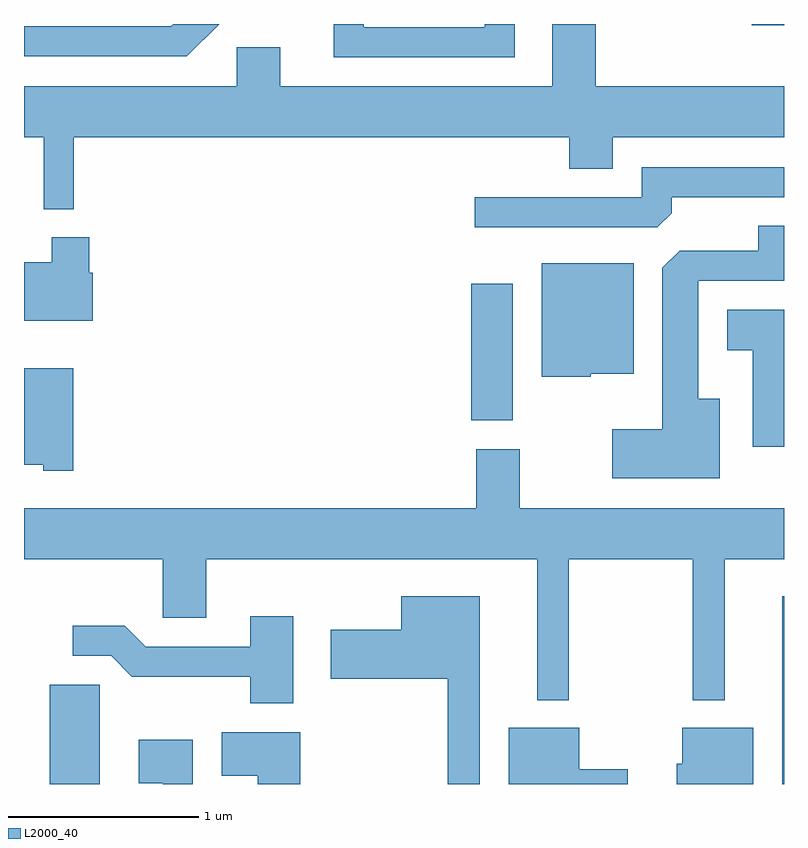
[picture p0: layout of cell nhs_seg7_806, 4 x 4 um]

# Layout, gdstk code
import gdstk
lib = gdstk.Library(unit=1e-6, precision=1e-09)
def R(c, l, rs):  # rectangles x0, y0, x1, y1
    for r in rs: c.add(gdstk.rectangle(r[:2], r[2:], *l))
def P(c, l, *ps):  # polygons
    for p in ps: c.add(gdstk.Polygon(p, *l))
L2000_40 = (2000, 40)

nhs_seg7_806 = lib.new_cell('nhs_seg7_806')
R(nhs_seg7_806, L2000_40, [(209.746,1704.252,210.009,1704.774), (213.601,1704.252,213.611,1705.239), (211.966,1706.166,212.184,1706.884), (213.441,1708.246,213.611,1708.252)])
P(nhs_seg7_806, L2000_40, [(209.874,1707.656),(212.481,1707.656),(212.481,1707.491),(212.709,1707.491),(212.709,1707.656),(213.611,1707.656),(213.611,1707.924),(212.619,1707.924),(212.619,1708.252),(212.391,1708.252),(212.391,1707.924),(210.959,1707.924),(210.959,1708.129),(210.731,1708.129),(210.731,1707.924),(209.611,1707.924),(209.611,1707.656),(209.716,1707.656),(209.716,1707.278),(209.874,1707.278)],
  [(210.638,1708.252),(210.397,1708.252),(210.384,1708.239),(209.611,1708.239),(209.611,1708.081),(210.467,1708.081)],
  [(212.194,1708.252),(212.036,1708.252),(212.036,1708.234),(211.399,1708.234),(211.399,1708.252),(211.241,1708.252),(211.241,1708.076),(212.194,1708.076)],
  [(213.019,1707.257),(213.019,1707.341),(213.611,1707.341),(213.611,1707.499),(212.861,1707.499),(212.861,1707.339),(211.983,1707.339),(211.983,1707.181),(212.944,1707.181)],
  [(213.274,1706.279),(213.159,1706.279),(213.159,1706.901),(213.611,1706.901),(213.611,1707.189),(213.476,1707.189),(213.476,1707.059),(213.062,1707.059),(212.971,1706.969),(212.971,1706.119),(212.706,1706.119),(212.706,1705.861),(213.274,1705.861)],
  [(209.974,1706.944),(209.954,1706.944),(209.954,1707.129),(209.756,1707.129),(209.756,1706.999),(209.611,1706.999),(209.611,1706.691),(209.974,1706.691)],
  [(212.595,1706.411),(212.819,1706.411),(212.819,1706.994),(212.336,1706.994),(212.336,1706.396),(212.595,1706.396)],
  [(213.611,1706.749),(213.311,1706.749),(213.311,1706.536),(213.446,1706.536),(213.446,1706.026),(213.611,1706.026)],
  [(209.869,1706.439),(209.611,1706.439),(209.611,1705.931),(209.711,1705.931),(209.711,1705.901),(209.869,1705.901)],
  [(212.479,1705.436),(213.131,1705.436),(213.131,1704.693),(213.299,1704.693),(213.299,1705.436),(213.611,1705.436),(213.611,1705.704),(212.219,1705.704),(212.219,1706.014),(211.991,1706.014),(211.991,1705.704),(209.611,1705.704),(209.611,1705.436),(210.341,1705.436),(210.341,1705.126),(210.569,1705.126),(210.569,1705.436),(212.311,1705.436),(212.311,1704.693),(212.479,1704.693)],
  [(212.009,1705.239),(211.596,1705.239),(211.596,1705.064),(211.226,1705.064),(211.226,1704.806),(211.841,1704.806),(211.841,1704.252),(212.009,1704.252)],
  [(211.029,1705.134),(210.801,1705.134),(210.801,1704.974),(210.252,1704.974),(210.142,1705.084),(209.868,1705.084),(209.868,1704.926),(210.069,1704.926),(210.179,1704.816),(210.801,1704.816),(210.801,1704.676),(211.029,1704.676)],
  [(213.449,1704.549),(213.076,1704.549),(213.076,1704.359),(213.046,1704.359),(213.046,1704.252),(213.449,1704.252)],
  [(212.789,1704.329),(212.534,1704.329),(212.534,1704.549),(212.161,1704.549),(212.161,1704.252),(212.789,1704.252)],
  [(211.064,1704.524),(210.651,1704.524),(210.651,1704.296),(210.841,1704.296),(210.841,1704.252),(211.064,1704.252)],
  [(210.499,1704.484),(210.216,1704.484),(210.216,1704.256),(210.341,1704.256),(210.341,1704.252),(210.499,1704.252)])

lib.write_gds('nhs_seg7_806.gds')
